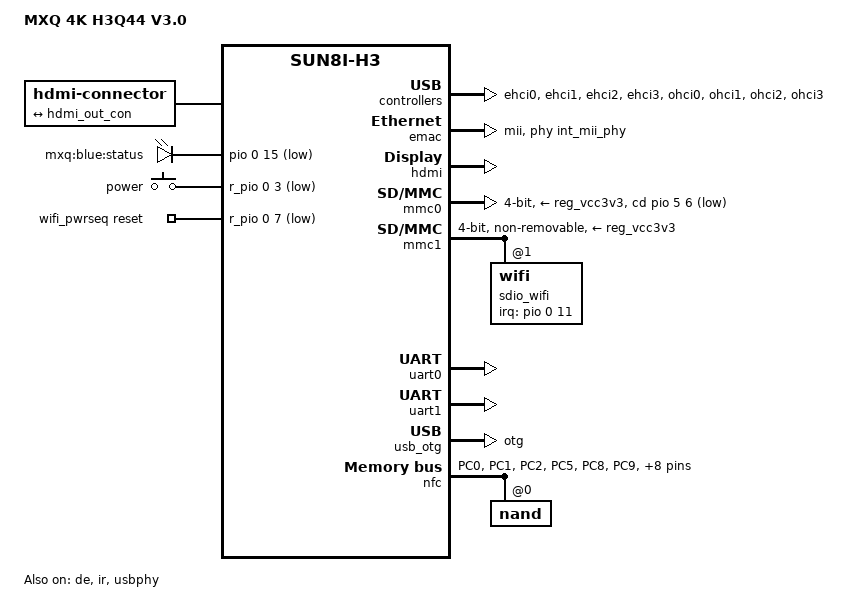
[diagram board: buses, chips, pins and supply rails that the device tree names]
// SPDX-License-Identifier: (GPL-2.0+ OR MIT)
/*
 * Device Tree for MXQ 4K H3Q44 V3.0 TV box, ported from the Android
 * 7.0 Allwinner vendor DTB found in ROM-MXQ-4K-H3Q44_V3.0_20190838.img.
 */

/dts-v1/;
#include "sun8i-h3.dtsi"
#include "sunxi-common-regulators.dtsi"
#include <dt-bindings/gpio/gpio.h>
#include <dt-bindings/input/input.h>

/ {
	model = "MXQ 4K H3Q44 V3.0";
	compatible = "mxq,h3q44", "allwinner,sun8i-h3";

	aliases {
		serial0 = &uart0;
		ethernet0 = &emac;
		ethernet1 = &sdio_wifi;
	};

	chosen {
		stdout-path = "serial0:115200n8";
	};

	connector {
		compatible = "hdmi-connector";
		type = "a";

		port {
			hdmi_con_in: endpoint {
				remote-endpoint = <&hdmi_out_con>;
			};
		};
	};

	leds {
		compatible = "gpio-leds";
		pinctrl-names = "default";
		pinctrl-0 = <&led_pins>;

		status_led {
			label = "mxq:blue:status";
			gpios = <&pio 0 15 GPIO_ACTIVE_LOW>; /* PA15 */
			default-state = "on";
		};
	};

	r_gpio_keys {
		compatible = "gpio-keys";
		pinctrl-names = "default";
		pinctrl-0 = <&power_button_pin>;

		power {
			label = "power";
			linux,code = <KEY_POWER>;
			gpios = <&r_pio 0 3 GPIO_ACTIVE_LOW>; /* PL3 */
			wakeup-source;
			debounce-interval = <10>;
		};
	};

	wifi_pwrseq: wifi-pwrseq {
		compatible = "mmc-pwrseq-simple";
		reset-gpios = <&r_pio 0 7 GPIO_ACTIVE_LOW>; /* PL7 */
	};
};

&de {
	status = "okay";
};

&ehci0 {
	status = "okay";
};

&ehci1 {
	status = "okay";
};

&ehci2 {
	status = "okay";
};

&ehci3 {
	status = "okay";
};

&emac {
	phy-handle = <&int_mii_phy>;
	phy-mode = "mii";
	allwinner,leds-active-low;
	status = "okay";
};

&hdmi {
	status = "okay";
};

&hdmi_out {
	hdmi_out_con: endpoint {
		remote-endpoint = <&hdmi_con_in>;
	};
};

&ir {
	pinctrl-names = "default";
	pinctrl-0 = <&r_ir_rx_pin>;
	status = "okay";
};

&mmc0 {
	vmmc-supply = <&reg_vcc3v3>;
	bus-width = <4>;
	cd-gpios = <&pio 5 6 GPIO_ACTIVE_LOW>; /* PF6 */
	status = "okay";
};

&mmc1 {
	vmmc-supply = <&reg_vcc3v3>;
	vqmmc-supply = <&reg_vcc3v3>;
	mmc-pwrseq = <&wifi_pwrseq>;
	bus-width = <4>;
	non-removable;
	cap-sdio-irq;
	keep-power-in-suspend;
	status = "okay";

	sdio_wifi: wifi@1 {
		reg = <1>;
		/* SV6256P / SSV6X5X, enumerated by SDIO ID 3030:3030. */
		interrupt-parent = <&pio>;
		interrupts = <0 11 IRQ_TYPE_LEVEL_LOW>; /* PA11 */
		interrupt-names = "host-wake";
	};
};

&mmc2 {
	pinctrl-names = "default";
	pinctrl-0 = <&mmc2_8bit_pins>;
	vmmc-supply = <&reg_vcc3v3>;
	vqmmc-supply = <&reg_vcc3v3>;
	bus-width = <8>;
	non-removable;
	cap-mmc-hw-reset;
	status = "disabled";
};

&mmc2_8bit_pins {
	drive-strength = <40>;
	bias-pull-up;
};

&ohci0 {
	status = "okay";
};

&ohci1 {
	status = "okay";
};

&ohci2 {
	status = "okay";
};

&ohci3 {
	status = "okay";
};

&pio {
	nand_pins: nand-pins {
		pins = "PC0", "PC1", "PC2", "PC5",
		       "PC8", "PC9", "PC10", "PC11",
		       "PC12", "PC13", "PC14", "PC15";
		function = "nand0";
	};

	nand_cs0_pin: nand-cs0-pin {
		pins = "PC4";
		function = "nand0";
		bias-pull-up;
	};

	nand_rb0_pin: nand-rb0-pin {
		pins = "PC6";
		function = "nand0";
		bias-pull-up;
	};

	led_pins: led-pins {
		pins = "PA15";
		function = "gpio_out";
	};
};

&r_pio {
	power_button_pin: power-button-pin {
		pins = "PL3";
		function = "gpio_in";
	};
};

&uart0 {
	pinctrl-names = "default";
	pinctrl-0 = <&uart0_pa_pins>;
	status = "okay";
};

&uart1 {
	pinctrl-names = "default";
	pinctrl-0 = <&uart1_pins>;
	status = "okay";
};

&usb_otg {
	dr_mode = "otg";
	status = "okay";
};

&usbphy {
	status = "okay";
};

&{/soc} {
	nfc: nand-controller@1c03000 {
		compatible = "allwinner,sun8i-a23-nand-controller";
		reg = <0x01c03000 0x1000>;
		interrupts = <GIC_SPI 70 IRQ_TYPE_LEVEL_HIGH>;
		clocks = <&ccu CLK_BUS_NAND>, <&ccu CLK_NAND>;
		clock-names = "ahb", "mod";
		resets = <&ccu RST_BUS_NAND>;
		reset-names = "ahb";
		dmas = <&dma 5>;
		dma-names = "rxtx";
		pinctrl-names = "default";
		pinctrl-0 = <&nand_pins &nand_cs0_pin &nand_rb0_pin>;
		status = "okay";
		#address-cells = <1>;
		#size-cells = <0>;

		nand@0 {
			reg = <0>;
			allwinner,rb = <0>;
			nand-ecc-mode = "hw";
			nand-ecc-algo = "bch";
			nand-ecc-step-size = <1024>;
			nand-ecc-strength = <40>;
		};
	};
};
